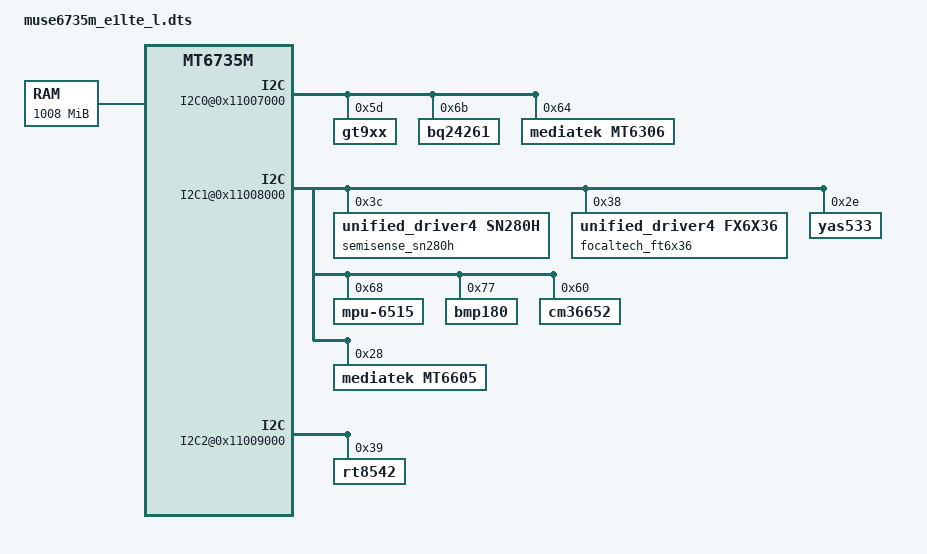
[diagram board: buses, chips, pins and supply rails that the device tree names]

/dts-v1/;

/include/ "mt6735m.dtsi"

/ {
  memory@00000000 {
		device_type = "memory";
		reg = <0 0x40000000 0 0x3F000000>;
	};

	bus {
		compatible = "simple-bus";
		#address-cells = <1>;
		#size-cells = <1>;
		ranges = <0 0 0 0xffffffff>;

		MTKFB@5e200000 {
			compatible = "mediatek,MTKFB";
			reg = <0x7F000000 0x1000000>;
		};

		I2C0@0x11007000 {
			gt9xx@5d {
				compatible = "gt9xx";
				reg = <0x5d>;
			};

			bq24261@6b {
				compatible = "bq24261";
				reg = <0x6b>;
			};

			mt6306@64 {
				compatible = "mediatek,mt6306";
				reg = <0x64>;
			};
		};

		I2C1@0x11008000 {
			semisense_sn280h@03c {
				compatible = "unified_driver4,sn280h";
				reg = <0x3c>;
			};

			focaltech_ft6x36@038 {
				compatible = "unified_driver4,fx6x36";
				reg = <0x38>;
			};

			yas533@2e {
				compatible = "yas533";
				reg = <0x2e>;
			};

			mpu-6515@68 {
				compatible = "mpu-6515";
				reg = <0x68>;
			};

			bmp180@77 {
				compatible = "bmp180";
				reg = <0x77>;
			};

			cm36652@60 {
				compatble = "cm36652";
				reg = <0x60>;
			};

			mt6605@28 {
				compatible = "mediatek,mt6605";
				reg = <0x28>;
			};
		};

		I2C2@0x11009000 {
			rt8542@39 {
				compatible = "rt8542";
				reg = <0x39>;
			};
		};
	};

	rt9536@0 {
		compatible = "richtek,rt9536";
		rt9536,en_set = <8>;
		rt9536,chgsb = <9>;
	};
};
